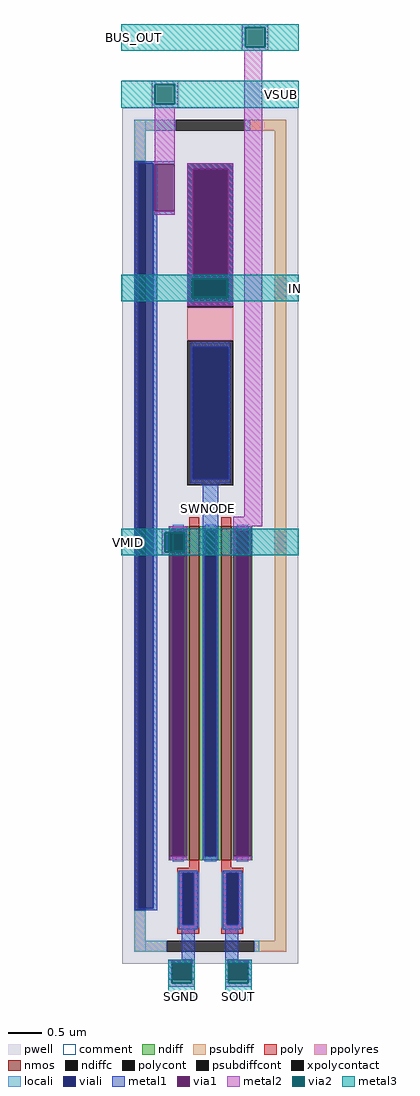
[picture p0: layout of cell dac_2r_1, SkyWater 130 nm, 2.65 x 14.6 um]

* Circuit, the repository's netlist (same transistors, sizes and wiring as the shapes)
* NGSPICE file created from dac_2r_1.ext - technology: sky130A

.subckt dac_2r_1 BUS_OUT SOUT SGND IN VMID VSUB
X0 SWNODE SGND VMID VSUB sky130_fd_pr__nfet_01v8 ad=0p pd=0u as=1.55e+12p ps=1.062e+07u w=5e+06u l=150000u
X1 BUS_OUT SOUT SWNODE VSUB sky130_fd_pr__nfet_01v8 ad=1.55e+12p pd=1.062e+07u as=0p ps=0u w=5e+06u l=150000u
X2 SWNODE IN VSUB sky130_fd_pr__res_high_po w=690000u l=500000u
.ends

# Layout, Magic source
magic
tech sky130A
magscale 1 2
<< pwell >>
rect 1063 558 1589 3120
<< nmos >>
rect 1263 868 1293 1868
rect 1359 868 1389 1868
<< ndiff >>
rect 1201 1856 1263 1868
rect 1201 880 1213 1856
rect 1247 880 1263 1856
rect 1201 868 1263 880
rect 1293 1856 1359 1868
rect 1293 880 1309 1856
rect 1343 880 1359 1856
rect 1293 868 1359 880
rect 1389 1856 1451 1868
rect 1389 880 1405 1856
rect 1439 880 1451 1856
rect 1389 868 1451 880
<< ndiffc >>
rect 1213 880 1247 1856
rect 1309 880 1343 1856
rect 1405 880 1439 1856
<< psubdiff >>
rect 1099 3050 1223 3084
rect 1429 3050 1553 3084
rect 1099 2960 1133 3050
rect 1099 628 1133 718
rect 1519 628 1553 3050
rect 1099 594 1195 628
rect 1457 594 1553 628
<< psubdiffcont >>
rect 1223 3050 1429 3084
rect 1099 718 1133 2960
rect 1195 594 1457 628
<< poly >>
rect 1263 1868 1293 1894
rect 1359 1868 1389 1894
rect 1263 846 1293 868
rect 1227 830 1293 846
rect 1227 675 1243 830
rect 1277 675 1293 830
rect 1227 648 1293 675
rect 1359 846 1389 868
rect 1359 830 1425 846
rect 1359 675 1375 830
rect 1409 675 1425 830
rect 1359 648 1425 675
<< polycont >>
rect 1243 675 1277 830
rect 1375 675 1409 830
<< xpolycontact >>
rect 1257 2522 1395 2954
rect 1257 1990 1395 2422
<< ppolyres >>
rect 1257 2422 1395 2522
<< locali >>
rect 1099 3050 1223 3084
rect 1429 3050 1445 3084
rect 1099 2960 1133 3050
rect 1133 2954 1167 2960
rect 1155 724 1167 2954
rect 1213 1856 1247 1872
rect 1213 864 1247 880
rect 1309 1856 1343 1872
rect 1309 864 1343 880
rect 1405 1856 1439 1872
rect 1405 864 1439 880
rect 1133 718 1167 724
rect 1099 628 1133 718
rect 1227 675 1243 830
rect 1277 675 1293 830
rect 1227 668 1293 675
rect 1359 675 1375 830
rect 1409 675 1425 830
rect 1359 668 1425 675
rect 1231 662 1289 668
rect 1363 662 1421 668
rect 1099 594 1195 628
rect 1457 594 1473 628
<< viali >>
rect 1111 724 1133 2954
rect 1133 724 1155 2954
rect 1273 2539 1379 2936
rect 1273 2008 1379 2405
rect 1213 880 1247 1856
rect 1309 880 1343 1856
rect 1405 880 1439 1856
rect 1243 675 1277 830
rect 1375 675 1409 830
<< metal1 >>
rect 1099 2954 1220 2960
rect 1099 724 1111 2954
rect 1155 2950 1220 2954
rect 1155 2810 1160 2950
rect 1155 2800 1220 2810
rect 1257 2936 1395 2954
rect 1155 724 1167 2800
rect 1257 2539 1273 2936
rect 1379 2539 1395 2936
rect 1257 2527 1395 2539
rect 1267 2405 1385 2417
rect 1267 2008 1273 2405
rect 1379 2008 1385 2405
rect 1267 1996 1385 2008
rect 1203 1856 1257 1868
rect 1203 868 1257 880
rect 1303 1856 1349 1996
rect 1303 880 1309 1856
rect 1343 880 1349 1856
rect 1303 868 1349 880
rect 1395 1856 1449 1868
rect 1395 868 1449 880
rect 1099 718 1167 724
rect 1231 830 1289 836
rect 1231 675 1243 830
rect 1277 675 1289 830
rect 1231 662 1289 675
rect 1363 830 1421 836
rect 1363 675 1375 830
rect 1409 675 1421 830
rect 1363 662 1421 675
rect 1240 570 1280 662
rect 1200 510 1210 570
rect 1270 510 1280 570
rect 1370 570 1410 662
rect 1370 510 1380 570
rect 1440 510 1450 570
<< via1 >>
rect 1160 2810 1220 2950
rect 1273 2539 1379 2936
rect 1203 880 1213 1856
rect 1213 880 1247 1856
rect 1247 880 1257 1856
rect 1395 880 1405 1856
rect 1405 880 1439 1856
rect 1439 880 1449 1856
rect 1210 510 1270 570
rect 1380 510 1440 570
<< metal2 >>
rect 1420 3360 1500 3370
rect 1420 3300 1430 3360
rect 1490 3300 1500 3360
rect 1420 3290 1500 3300
rect 1150 3190 1230 3200
rect 1150 3130 1160 3190
rect 1220 3130 1230 3190
rect 1150 3120 1230 3130
rect 1160 2950 1220 3120
rect 1160 2800 1220 2810
rect 1257 2936 1395 2954
rect 1257 2610 1273 2936
rect 1379 2610 1395 2936
rect 1257 2550 1270 2610
rect 1380 2550 1395 2610
rect 1257 2539 1273 2550
rect 1379 2539 1395 2550
rect 1257 2527 1395 2539
rect 1428 1896 1482 3290
rect 1395 1868 1482 1896
rect 1203 1860 1257 1868
rect 1180 1856 1257 1860
rect 1180 1850 1203 1856
rect 1180 1790 1190 1850
rect 1180 1780 1203 1790
rect 1203 868 1257 880
rect 1395 1856 1449 1868
rect 1395 868 1449 880
rect 1200 500 1210 570
rect 1270 500 1280 570
rect 1200 490 1280 500
rect 1370 500 1380 570
rect 1440 500 1450 570
rect 1370 490 1450 500
<< via2 >>
rect 1430 3300 1490 3360
rect 1160 3130 1220 3190
rect 1270 2550 1273 2610
rect 1273 2550 1379 2610
rect 1379 2550 1380 2610
rect 1190 1790 1203 1850
rect 1203 1790 1250 1850
rect 1210 510 1270 560
rect 1210 500 1270 510
rect 1380 510 1440 560
rect 1380 500 1440 510
<< metal3 >>
rect 1060 3360 1590 3370
rect 1060 3300 1430 3360
rect 1490 3300 1590 3360
rect 1060 3290 1590 3300
rect 1060 3190 1590 3200
rect 1060 3130 1160 3190
rect 1220 3130 1590 3190
rect 1060 3120 1590 3130
rect 1060 2610 1590 2620
rect 1060 2550 1270 2610
rect 1380 2550 1590 2610
rect 1060 2540 1590 2550
rect 1060 1850 1590 1860
rect 1060 1790 1190 1850
rect 1250 1790 1590 1850
rect 1060 1780 1590 1790
rect 1200 560 1280 570
rect 1200 500 1210 560
rect 1270 500 1280 560
rect 1200 450 1280 500
rect 1370 560 1450 570
rect 1370 500 1380 560
rect 1440 500 1450 560
rect 1370 450 1450 500
<< comment >>
rect 1099 2960 1133 3084
rect 1099 594 1133 718
<< labels >>
rlabel metal3 1060 3290 1130 3370 1 BUS_OUT
port 1 n
rlabel metal3 1520 3120 1560 3200 1 VSUB
port 4 n
rlabel metal3 1570 2540 1590 2620 1 IN
port 5 n
rlabel metal3 1370 450 1450 470 1 SOUT
port 2 n
rlabel metal3 1200 450 1280 470 1 SGND
port 3 n
rlabel metal3 1060 1780 1100 1860 1 VMID
port 6 n
rlabel metal1 1310 1900 1330 1940 1 SWNODE
<< end >>
